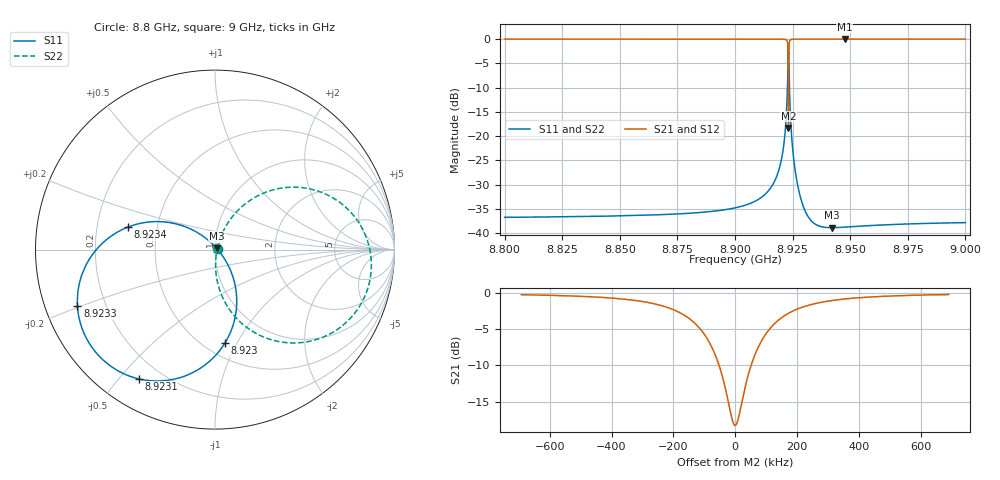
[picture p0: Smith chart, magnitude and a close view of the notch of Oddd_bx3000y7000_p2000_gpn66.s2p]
! Sonnet Data File
! From: emgraph Version : 16.52
! From Project: Resonator2_cp
! Data is De-embedded
! Data File Written: 10/06/2017 09:05:51
!< HDATE 10/05/2017 15:28:06
!< MDATE 10/05/2017 15:28:06
!< PARAMS
!< gap = 66.0
!< Length = 400.0
!< Pwid1 = 2000.0
!< Pwid2 = 2000.0
!< END PARAMS
# GHZ S MA R 35.97000
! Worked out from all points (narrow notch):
!   1595 points, 8.8 GHz to 9 GHz, reference 35.97 ohm
!   highest |S21| = 0.00 dB at 8.9476 GHz (marker M1); lowest = -18.3 dB at 8.9232 GHz (marker M2)
!   notch at M2: 18.3 dB deep, 118 kHz wide at half that depth
!   lowest |S11| = -38.8 dB at 8.942 GHz (marker M3), VSWR 1.02, Z = 36.6 + j0.554 ohm
!   |S11| at or under -10 dB: start of sweep to 8.9228 GHz; 8.9236 GHz to end of sweep
!   |S22| runs from -38.8 to -1.1 dB; largest |S21 - S12| = 0
!   S11 on the Smith chart (normalised r, x): 8.8 GHz: 1.03, +0.00; 8.923 GHz: 0.62, -0.90; 8.9231 GHz: 0.12, -0.56; 8.9233 GHz: 0.10, -0.20; 8.9234 GHz: 0.34, +0.11; 9 GHz: 1.03, +0.01
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8.8  0.0146 4.0  0.9999 -74.3  0.9999 -74.3  0.0146 27.4
!< P1 F=8.8 Eeff=(5.36817953 -2.3731e-5) Z0=(35.9853883 8.0522e-5) R=0.0 C=0.0
!< P2 F=8.8 Eeff=(5.36817953 -2.3731e-5) Z0=(35.9853883 8.0522e-5) R=0.0 C=0.0
8.8334  0.01488 2.3  0.9999 -74.6  0.9999 -74.6  0.01488 28.5
8.8668  0.01551 -0.9  0.9999 -75.0  0.9999 -75.0  0.01552 31.0
8.9  0.01826 -10.2  0.9998 -75.5  0.9998 -75.5  0.01827 39.3
8.918392  0.04022 -34.2  0.9991 -77.0  0.9991 -77.0  0.04029 59.9
8.921593  0.09972 -48.2  0.9938 -80.5  0.9938 -80.5  0.09999 65.9
8.922574  0.2343 -61.1  0.9647 -88.4  0.9647 -88.4  0.235 60.7
8.922973  0.5233 -83.9  0.8068 -106.3  0.8068 -106.3  0.525 41.2
8.923083  0.7165 -102.5  0.5865 -119.9  0.5865 -119.9  0.7188 23.5
8.923149  0.8364 -120.6  0.3235 -126.3  0.3235 -126.3  0.8391 6.1
8.923203  0.8768 -138.5  0.1218 -74.1  0.1218 -74.1  0.8796 -11.4
8.923261  0.8287 -157.6  0.3449 -23.4  0.3449 -23.4  0.8313 -30.0
8.923441  0.5022 165.6  0.8216 -44.8  0.8216 -44.8  0.5039 -65.1
8.9238  0.2314 144.3  0.9646 -61.5  0.9646 -61.5  0.2322 -83.1
8.924414  0.1138 133.4  0.9914 -68.3  0.9914 -68.3  0.1142 -88.0
8.9262  0.04295 119.0  0.9987 -72.5  0.9987 -72.5  0.04313 -83.1
8.9294  0.01965 97.1  0.9997 -74.0  0.9997 -74.0  0.01974 -64.7
8.9334  0.01321 72.2  0.9999 -74.5  0.9999 -74.5  0.01326 -41.1
8.942  0.01143 41.5  0.9999 -75.0  0.9999 -75.0  0.01144 -11.5
8.9476  0.01157 32.4  0.9999 -75.2  0.9999 -75.2  0.01158 -2.6
8.9668  0.01227 19.6  0.9999 -75.5  0.9999 -75.5  0.01227 9.5
9  0.01288 13.0  0.9999 -75.8  0.9999 -75.8  0.01288 15.3
